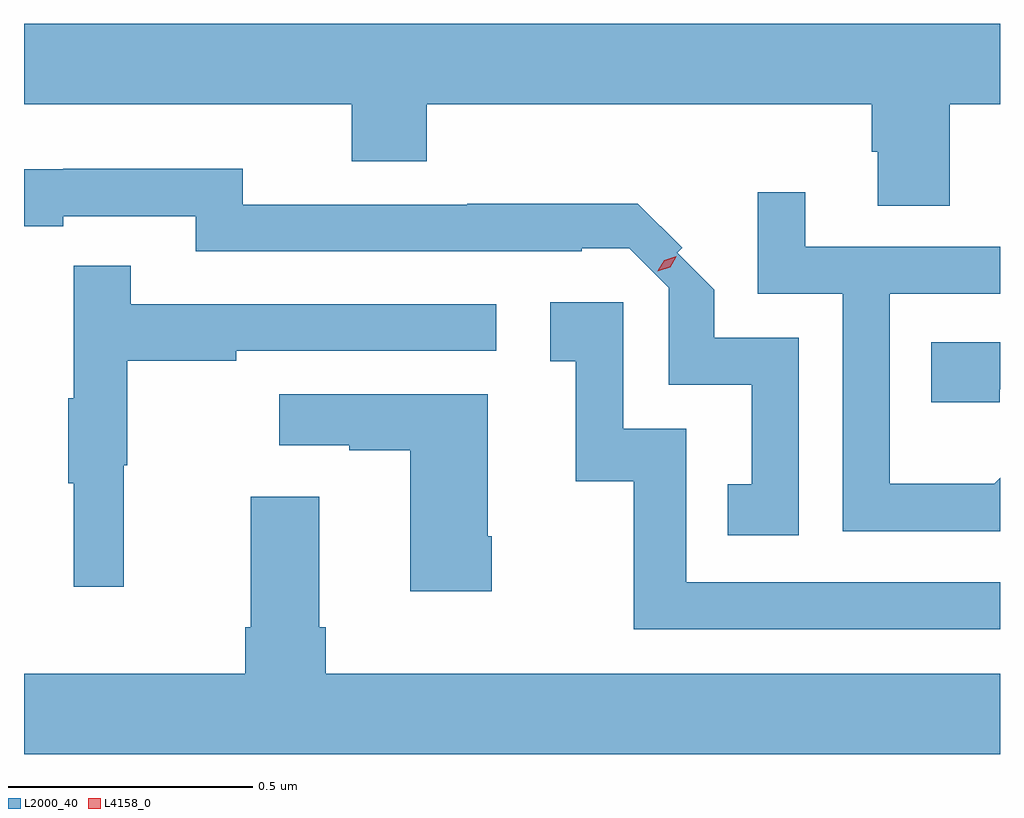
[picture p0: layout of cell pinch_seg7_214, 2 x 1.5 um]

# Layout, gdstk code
import gdstk
lib = gdstk.Library(unit=1e-6, precision=1e-09)
def P(c, l, *ps):  # polygons
    for p in ps: c.add(gdstk.Polygon(p, *l))
L2000_40 = (2000, 40)
L4158_0 = (4158, 0)

pinch_seg7_214 = lib.new_cell('pinch_seg7_214')
P(pinch_seg7_214, L2000_40, [(661.731,1049.9),(661.834,1049.9),(661.834,1050.064),(659.834,1050.064),(659.834,1049.9),(660.506,1049.9),(660.506,1049.783),(660.659,1049.783),(660.659,1049.9),(661.571,1049.9),(661.571,1049.802),(661.583,1049.802),(661.583,1049.692),(661.731,1049.692)],
  [(661.422,1049.421),(661.248,1049.421),(661.248,1049.519),(661.173,1049.595),(661.183,1049.605),(661.092,1049.696),(660.742,1049.696),(660.742,1049.694),(660.282,1049.694),(660.282,1049.767),(659.914,1049.767),(659.914,1049.766),(659.834,1049.766),(659.834,1049.65),(659.914,1049.65),(659.914,1049.67),(660.186,1049.67),(660.186,1049.598),(660.977,1049.598),(660.977,1049.604),(661.074,1049.604),(661.155,1049.523),(661.155,1049.325),(661.325,1049.325),(661.325,1049.121),(661.276,1049.121),(661.276,1049.016),(661.422,1049.016)],
  [(661.834,1049.134),(661.822,1049.122),(661.608,1049.122),(661.608,1049.511),(661.834,1049.511),(661.834,1049.607),(661.435,1049.607),(661.435,1049.719),(661.338,1049.719),(661.338,1049.511),(661.512,1049.511),(661.512,1049.025),(661.834,1049.025)],
  [(660.038,1049.16),(660.046,1049.16),(660.046,1049.374),(660.269,1049.374),(660.269,1049.394),(660.802,1049.394),(660.802,1049.49),(660.053,1049.49),(660.053,1049.569),(659.936,1049.569),(659.936,1049.297),(659.925,1049.297),(659.925,1049.123),(659.936,1049.123),(659.936,1048.911),(660.038,1048.911)],
  [(661.834,1048.92),(661.191,1048.92),(661.191,1049.235),(661.062,1049.235),(661.062,1049.494),(660.912,1049.494),(660.912,1049.373),(660.965,1049.373),(660.965,1049.127),(661.083,1049.127),(661.083,1048.824),(661.834,1048.824)],
  [(661.833,1049.316),(661.834,1049.316),(661.834,1049.412),(661.693,1049.412),(661.693,1049.289),(661.833,1049.289)],
  [(660.792,1049.014),(660.784,1049.014),(660.784,1049.305),(660.357,1049.305),(660.357,1049.201),(660.5,1049.201),(660.5,1049.191),(660.626,1049.191),(660.626,1048.902),(660.792,1048.902)],
  [(661.834,1048.732),(660.452,1048.732),(660.452,1048.828),(660.439,1048.828),(660.439,1049.095),(660.299,1049.095),(660.299,1048.828),(660.287,1048.828),(660.287,1048.732),(659.834,1048.732),(659.834,1048.568),(661.834,1048.568)])
P(pinch_seg7_214, L4158_0, [(661.133,1049.557),(661.133,1049.558),(661.146,1049.58),(661.171,1049.588),(661.171,1049.588),(661.171,1049.587),(661.158,1049.565),(661.133,1049.557)])

lib.write_gds('pinch_seg7_214.gds')
